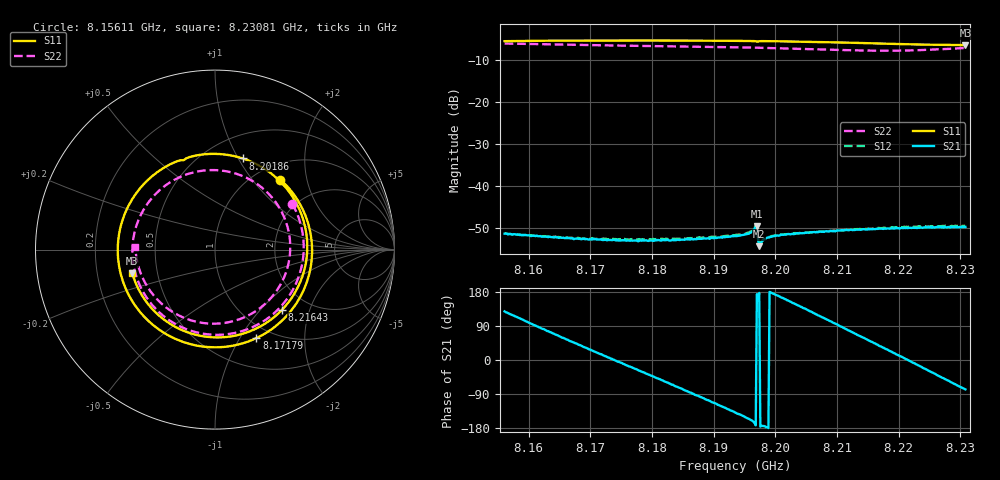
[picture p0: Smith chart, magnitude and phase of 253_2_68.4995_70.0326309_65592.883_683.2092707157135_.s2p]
#  HZ  S  RI  R  50.00
! Rohde & Schwarz Vector Network Analyzer
! Rohde-Schwarz,ZNB20-2Port,1311601062101988,3.16
! Created: UTC 3/20/2024, 4:59:56 PM
! freq[Hz]  re:S11  im:S11  re:S21  im:S21  re:S12  im:S12  re:S22  im:S22
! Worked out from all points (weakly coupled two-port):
!   401 points, 8.15611 GHz to 8.23081 GHz, reference 50 ohm
!   highest |S21| = -49.48 dB at 8.19701 GHz (marker M1); lowest = -54.3 dB at 8.19738 GHz (marker M2)
!   lowest |S11| = -6.4 dB at 8.23081 GHz (marker M3), VSWR 2.84, Z = 17.9 - j6.13 ohm
!   |S11| at or under -10 dB: nowhere
!   |S22| runs from -7.7 to -6.0 dB; largest |S21 - S12| = 0.00025
!   S11 on the Smith chart (normalised r, x): 8.15611 GHz: 1.28, +1.40; 8.17179 GHz: 0.84, -1.18; 8.20186 GHz: 0.74, +1.04; 8.21643 GHz: 1.48, -1.33; 8.23081 GHz: 0.36, -0.12
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8.156106e9  0.3641 0.3905  -0.00168 0.00213  -0.00168 0.00214  0.4311 0.2543
8.162456e9  0.5405 0.0147  0.000363 0.00248  0.000403 0.0025  0.4761 -0.1202
8.168619e9  0.4023 -0.3659  0.00186 0.00141  0.00188 0.0014  0.2616 -0.4044
8.171794e9  0.2303 -0.4932  0.00225 0.000612  0.00225 0.000588  0.0904 -0.4683
8.176463e9  -0.0809 -0.5384  0.00213 -0.000673  0.00219 -0.00074  -0.1711 -0.4385
8.181132e9  -0.367 -0.401  0.00146 -0.00174  0.00148 -0.00183  -0.3744 -0.2768
8.187295e9  -0.5415 -0.0213  -0.000131 -0.00234  -0.000183 -0.00241  -0.4568 0.0485
8.190283e9  -0.5086 0.1837  -0.00101 -0.00219  -0.00114 -0.00223  -0.407 0.206
8.193458e9  -0.3908 0.3711  -0.00191 -0.00169  -0.00198 -0.00167  -0.2955 0.3421
8.196633e9  -0.2039 0.4946  -0.00302 -0.000724  -0.00313 -0.000655  -0.1392 0.4248
8.197006e9  -0.1774 0.4978  -0.00334 0.000362  -0.00339 0.000538  -0.119 0.4303
8.19738e9  -0.1613 0.5079  -0.00192 9.98e-05  -0.00195 0.000178  -0.0986 0.435
8.197753e9  -0.1349 0.5175  -0.00215 -0.000233  -0.00218 -0.00014  -0.0779 0.4385
8.201862e9  0.1532 0.5081  -0.00248 0.001  -0.00247 0.00105  0.1518 0.4106
8.205971e9  0.3922 0.3484  -0.00166 0.00228  -0.00156 0.00232  0.3373 0.265
8.2112e9  0.5141 0.00435  0.000325 0.00298  0.000403 0.00296  0.417 -0.031
8.216429e9  0.3735 -0.3354  0.00233 0.00204  0.0024 0.00204  0.2667 -0.3132
8.218484e9  0.2563 -0.4259  0.00284 0.00128  0.00293 0.00122  0.1532 -0.3815
8.221472e9  0.0507 -0.488  0.00316 1.14e-05  0.00323 -0.000113  -0.0406 -0.4115
8.224273e9  -0.1493 -0.4621  0.00296 -0.00127  0.00302 -0.00141  -0.2204 -0.3568
8.227635e9  -0.3504 -0.3298  0.00202 -0.00253  0.00201 -0.00273  -0.3834 -0.1954
8.23081e9  -0.4607 -0.1318  0.000704 -0.00318  0.000514 -0.00335  -0.4434 0.0163
